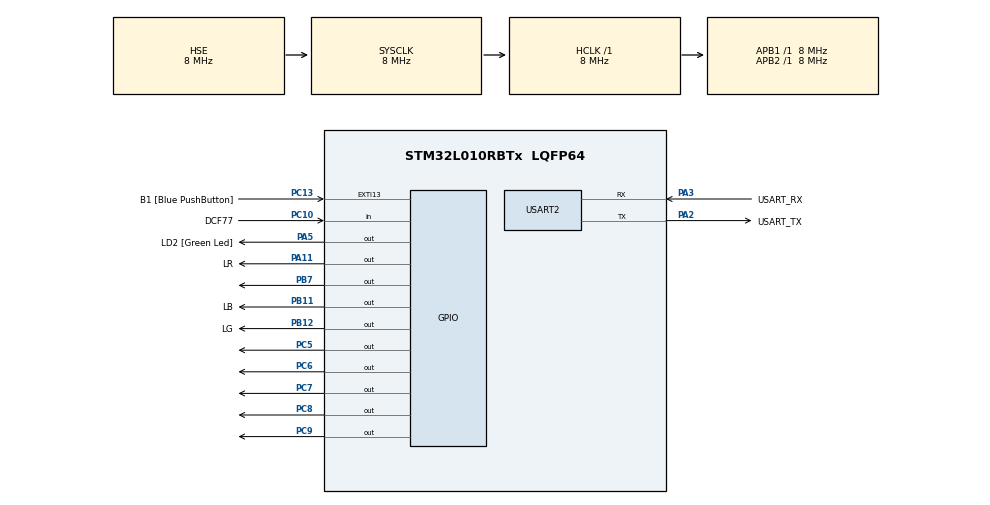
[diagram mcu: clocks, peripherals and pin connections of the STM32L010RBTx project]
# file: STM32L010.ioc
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Dma.Request0=USART2_TX
Dma.USART2_TX.0.Direction=DMA_MEMORY_TO_PERIPH
Dma.USART2_TX.0.Instance=DMA1_Channel4
Dma.USART2_TX.0.MemDataAlignment=DMA_MDATAALIGN_BYTE
Dma.USART2_TX.0.MemInc=DMA_MINC_ENABLE
Dma.USART2_TX.0.Mode=DMA_NORMAL
Dma.USART2_TX.0.PeriphDataAlignment=DMA_PDATAALIGN_BYTE
Dma.USART2_TX.0.PeriphInc=DMA_PINC_DISABLE
Dma.USART2_TX.0.Priority=DMA_PRIORITY_LOW
Mcu.Family=STM32L0
Mcu.Name=STM32L010RBTx
Mcu.Package=LQFP64
NVIC.DMA1_Channel4_5_6_7_IRQn=true\:0\:0\:false\:false\:true\:false\:true\:true
NVIC.EXTI4_15_IRQn=true\:0\:0\:false\:false\:true\:true\:true\:true
NVIC.TIM2_IRQn=true\:0\:0\:false\:false\:true\:true\:true\:true
NVIC.USART2_IRQn=true\:0\:0\:false\:false\:true\:true\:true\:true
PA11.GPIO_Label=LR
PA11.Signal=GPIO_Output
PA13.GPIO_Label=TMS
PA13.Mode=Serial_Wire
PA13.Signal=SYS_SWDIO
PA14.GPIO_Label=TCK
PA14.Mode=Serial_Wire
PA14.Signal=SYS_SWCLK
PA2.GPIO_Label=USART_TX
PA2.Mode=Asynchronous
PA2.Signal=USART2_TX
PA3.GPIO_Label=USART_RX
PA3.Mode=Asynchronous
PA3.Signal=USART2_RX
PA5.GPIO_Label=LD2 [Green Led]
PA5.Signal=GPIO_Output
PB11.GPIO_Label=LB
PB11.Signal=GPIO_Output
PB12.GPIO_Label=LG
PB12.Signal=GPIO_Output
PB7.Signal=GPIO_Output
PC10.GPIO_Label=DCF77
PC10.GPIO_PuPd=GPIO_PULLUP
PC10.Signal=GPIO_Input
PC13.GPIO_Label=B1 [Blue PushButton]
PC13.GPIO_ModeDefaultEXTI=GPIO_MODE_IT_FALLING
PC13.Signal=GPXTI13
PC14-OSC32_IN.Mode=LSE-External-Oscillator
PC14-OSC32_IN.Signal=RCC_OSC32_IN
PC15-OSC32_OUT.Mode=LSE-External-Oscillator
PC15-OSC32_OUT.Signal=RCC_OSC32_OUT
PC5.Signal=GPIO_Output
PC6.Signal=GPIO_Output
PC7.Signal=GPIO_Output
PC8.Signal=GPIO_Output
PC9.Signal=GPIO_Output
PH0-OSC_IN.GPIO_Label=MCO
PH0-OSC_IN.Mode=HSE-External-Clock-Source
PH0-OSC_IN.Signal=RCC_OSC_IN
ProjectManager.HeapSize=0x200
ProjectManager.StackSize=0x400
ProjectManager.TargetToolchain=STM32CubeIDE
RCC.AHBFreq_Value=8000000
RCC.APB1Freq_Value=8000000
RCC.APB1TimFreq_Value=8000000
RCC.APB2Freq_Value=8000000
RCC.APB2TimFreq_Value=8000000
RCC.HCLKFreq_Value=8000000
RCC.HSE_VALUE=8000000
RCC.HSI16_VALUE=16000000
RCC.HSI48_VALUE=48000000
RCC.HSI_VALUE=16000000
RCC.MSI_VALUE=2097000
RCC.PLLSourceVirtual=RCC_PLLSOURCE_HSE
RCC.SYSCLKFreq_VALUE=8000000
RCC.SYSCLKSource=RCC_SYSCLKSOURCE_HSE
RCC.VCOOutputFreq_Value=24000000
TIM2.AutoReloadPreload=TIM_AUTORELOAD_PRELOAD_ENABLE
TIM2.Period=999
TIM2.Prescaler=7
USART2.VirtualMode-Asynchronous=VM_ASYNC
VP_RTC_VS_RTC_Activate.Mode=RTC_Enabled
VP_RTC_VS_RTC_Calendar.Mode=RTC_Calendar
VP_TIM2_VS_ClockSourceINT.Mode=Internal
board=NUCLEO-L010RB

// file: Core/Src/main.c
/* USER CODE BEGIN Header */
/**
  ******************************************************************************
  * @file           : main.c
  * @brief          : Main program body
  ******************************************************************************
  * @attention
  *
  * Copyright (c) 2026 STMicroelectronics.
  * All rights reserved.
  *
  * This software is licensed under terms that can be found in the LICENSE file
  * in the root directory of this software component.
  * If no LICENSE file comes with this software, it is provided AS-IS.
  *
  ******************************************************************************
  */
/* USER CODE END Header */
#include "main.h"
#include "dma.h"
#include "rtc.h"
#include "tim.h"
#include "usart.h"
#include "gpio.h"

/* USER CODE BEGIN Includes */
#include <stdio.h>
#include <string.h>
#include "debug.h"
#include "dcf77_bridge.h"
/* USER CODE END Includes */

/* USER CODE BEGIN PD */
/* Imposta a 1 se il tuo modulo DCF77 ha uscita invertita (0=portante, 1=silenzio)
 * Imposta a 0 se uscita normale (1=portante, 0=silenzio)
 * Il modulo HKW/Canaduino tipicamente usa 0 (non invertito) su STM32 */
#define DCF77_INVERTED_SAMPLES  0
/* USER CODE END PD */

/* USER CODE BEGIN PV */
uint32_t	timer_1ms = 0;
/* --- Variabile globale per il polling (opzionale) --- */
static volatile DCF77_Time_t g_current_time;
static volatile uint8_t      g_time_updated = 0;
/* USER CODE END PV */

void SystemClock_Config(void);

/* USER CODE BEGIN 0 */

/* Versione con flag: sostituisce dcf77_output_handler sopra se preferisci
 * processare il tempo nel main loop invece che nell'IRQ */
void dcf77_output_handler_with_flag(const DCF77_Time_t *t)
{
    g_current_time = *t;       /* copia atomica per tipi piccoli su Cortex-M */
    g_time_updated = 1;
}

uint8_t dcf77_input_provider(void)
{
	/* Legge il pin DCF77, applica eventuale inversione, aggiorna il LED monitor */
	    uint8_t sampled = (uint8_t)HAL_GPIO_ReadPin(DCF77_GPIO_Port, DCF77_Pin);
	    sampled ^= DCF77_INVERTED_SAMPLES;

	    /* LED monitor: ON quando il segnale è alto (portante presente)
	     * Adatta GPIO_PIN_x e GPIOx al tuo LED monitor */
	    HAL_GPIO_WritePin(LD2_GPIO_Port, LD2_Pin, sampled ? GPIO_PIN_SET : GPIO_PIN_RESET);

	    return sampled;
}

/* --- Stampa ora su UART (equivalente di paddedPrint + loop) --- */
static void dcf77_print_time(const DCF77_Time_t *t)
{
    char buf[64];

    /* Stato del clock */
    const char *state_str;
    switch (dcf77_bridge_get_clock_state()) {
        case DCF77_STATE_USELESS:  state_str = "useless  "; break;
        case DCF77_STATE_DIRTY:    state_str = "dirty    "; break;
        case DCF77_STATE_FREE:     state_str = "free     "; break;
        case DCF77_STATE_UNLOCKED: state_str = "unlocked "; break;
        case DCF77_STATE_LOCKED:   state_str = "locked   "; break;
        case DCF77_STATE_SYNCED:   state_str = "synced   "; break;
        default:                   state_str = "unknown  "; break;
    }

    /* Formato: "synced   2025-06-15 14:32:01+02" */
    snprintf(buf, sizeof(buf),
             "%s 20%02u-%02u-%02u %02u:%02u:%02u+0%c",
             state_str,
             t->year, t->month, t->day,
             t->hour, t->minute, t->second,
             t->uses_summertime ? '2' : '1');

//    HAL_UART_Transmit(&huart2, (uint8_t*)buf, strlen(buf), HAL_MAX_DELAY);
    APP_DEBUG(DBG_TRACE, buf);
}

/* USER CODE END 0 */

int main(void)
{

  /* MCU Configuration--------------------------------------------------------*/

  /* Reset of all peripherals, Initializes the Flash interface and the Systick. */
  HAL_Init();

  /* Configure the system clock */
  SystemClock_Config();

  /* Initialize all configured peripherals */
  MX_GPIO_Init();
  MX_DMA_Init();
  MX_USART2_UART_Init();
  MX_RTC_Init();
  MX_TIM2_Init();
  /* USER CODE BEGIN 2 */

  // Messaggio di avvio
  APP_DEBUG(DBG_TRACE,"\r\nSimple DCF77 Clock");
  HAL_Delay(10);
  APP_DEBUG(DBG_TRACE,"Initializing...");

  // Inizializza il bridge DCF77 PRIMA di avviare TIM2
  //dcf77_bridge_setup(dcf77_input_provider, dcf77_output_handler_with_flag);
  dcf77_bridge_setup(dcf77_input_provider, NULL);  // NULL = niente output handler, usiamo polling

  // Avvia TIM2 in modalità interrupt (1 kHz)
  HAL_TIM_Base_Start_IT(&htim2);

  APP_DEBUG(DBG_TRACE, "By MLT using Udo Klein library");

	  uint32_t dot_count = 0;
  {
	  DCF77_ClockState_t state;
	  do {
		  HAL_Delay(1000);
		  HAL_UART_Transmit(&huart2, (uint8_t*)".", 1, HAL_MAX_DELAY);
		  if (!((++dot_count)%60)) {
			  APP_DEBUG(DBG_TRACE,"");
		  }
		  state = dcf77_bridge_get_clock_state();
	  } while (state == DCF77_STATE_USELESS || state == DCF77_STATE_DIRTY);

  }
  APP_DEBUG(DBG_TRACE,"Synced! seconds = %d", dot_count);

  /* USER CODE END 2 */

  /* Infinite loop */
  /* USER CODE BEGIN WHILE */
  while (1)
  {
	  DCF77_Time_t now;
	  dcf77_bridge_read_current_time(&now);

	  if (now.month > 0) {
		  dcf77_print_time(&now);
	  }

	  HAL_Delay(1000);

    /* USER CODE END WHILE */

  }
}

void SystemClock_Config(void)
{
  RCC_OscInitTypeDef RCC_OscInitStruct = {0};
  RCC_ClkInitTypeDef RCC_ClkInitStruct = {0};
  RCC_PeriphCLKInitTypeDef PeriphClkInit = {0};

  /** Configure the main internal regulator output voltage
  */
  __HAL_PWR_VOLTAGESCALING_CONFIG(PWR_REGULATOR_VOLTAGE_SCALE1);

  /** Initializes the RCC Oscillators according to the specified parameters
  * in the RCC_OscInitTypeDef structure.
  */
  RCC_OscInitStruct.OscillatorType = RCC_OSCILLATORTYPE_LSI|RCC_OSCILLATORTYPE_HSE;
  RCC_OscInitStruct.HSEState = RCC_HSE_BYPASS;
  RCC_OscInitStruct.LSIState = RCC_LSI_ON;
  RCC_OscInitStruct.PLL.PLLState = RCC_PLL_NONE;
  if (HAL_RCC_OscConfig(&RCC_OscInitStruct) != HAL_OK)
  {
    Error_Handler();
  }

  /** Initializes the CPU, AHB and APB buses clocks
  */
  RCC_ClkInitStruct.ClockType = RCC_CLOCKTYPE_HCLK|RCC_CLOCKTYPE_SYSCLK
                              |RCC_CLOCKTYPE_PCLK1|RCC_CLOCKTYPE_PCLK2;
  RCC_ClkInitStruct.SYSCLKSource = RCC_SYSCLKSOURCE_HSE;
  RCC_ClkInitStruct.AHBCLKDivider = RCC_SYSCLK_DIV1;
  RCC_ClkInitStruct.APB1CLKDivider = RCC_HCLK_DIV1;
  RCC_ClkInitStruct.APB2CLKDivider = RCC_HCLK_DIV1;

  if (HAL_RCC_ClockConfig(&RCC_ClkInitStruct, FLASH_LATENCY_0) != HAL_OK)
  {
    Error_Handler();
  }
  PeriphClkInit.PeriphClockSelection = RCC_PERIPHCLK_USART2|RCC_PERIPHCLK_RTC;
  PeriphClkInit.Usart2ClockSelection = RCC_USART2CLKSOURCE_PCLK1;
  PeriphClkInit.RTCClockSelection = RCC_RTCCLKSOURCE_LSI;
  if (HAL_RCCEx_PeriphCLKConfig(&PeriphClkInit) != HAL_OK)
  {
    Error_Handler();
  }
}

/* USER CODE BEGIN 4 */
// Tipycal output redirection. Here I use dam and/or Interrupt
/*
int __io_putchar(int ch) {
    HAL_UART_Transmit(&huart2, (uint8_t *)&ch, 1, 0xFFFF);
    return ch;
}
*/

void HAL_TIM_PeriodElapsedCallback(TIM_HandleTypeDef *htim)
{
    if (htim->Instance == TIM2)
    {
        dcf77_bridge_isr_handler();
        timer_1ms++;
    }
}

//--------------------------------------------------------------------
/** UART TX complete interrupt callback processing
 *
 * \param	huart	Pointer to the UART handle for which this callback is executed
 */
void HAL_UART_TxCpltCallback(UART_HandleTypeDef *huart)
{
	// If all data from UART output completely to ESP32
	if (huart == &huart2) {

		// Call the TX complete callback from DEBUG communication module
		DBG_TX_Complete_Callback();
	}
}

/* USER CODE END 4 */

void Error_Handler(void)
{
  __disable_irq();
  while (1)
  {
  }
}
